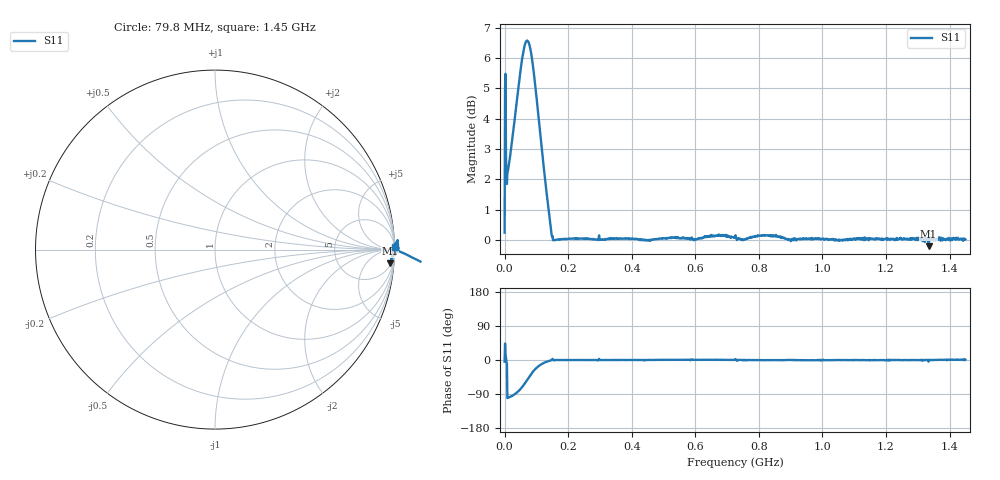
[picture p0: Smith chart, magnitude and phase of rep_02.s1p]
! Created with skrf 1.11.0 (http://scikit-rf.org).
# Hz S RI R 50.0
!freq ReS11 ImS11
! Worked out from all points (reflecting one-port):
!   1001 points, 50 kHz to 1.45 GHz, reference 50 ohm
!   lowest |S11| = -0.2 dB at 1.334 GHz (marker M1), VSWR 88.93, Z = 345 - j1.19e+03 ohm
!   phase of S11 starts at -4 deg and turns +5 deg over the sweep
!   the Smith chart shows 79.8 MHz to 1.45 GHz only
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50000  1.026 -0.0783
8749700  -0.2342 -1.268
1.019965e7  -0.2258 -1.279
1.16496e7  -0.2159 -1.294
1.599945e7  -0.1855 -1.346
2.759905e7  -0.0702 -1.515
3.77487e7  0.1022 -1.679
4.64484e7  0.3242 -1.81
5.659805e7  0.6863 -1.887
6.529775e7  1.063 -1.823
6.96476e7  1.242 -1.728
7.54474e7  1.448 -1.545
8.269715e7  1.61 -1.261
8.99469e7  1.664 -0.9656
9.86466e7  1.622 -0.6616
1.058964e8  1.541 -0.4695
1.14596e8  1.425 -0.2969
1.247457e8  1.286 -0.1602
1.493948e8  1.014 0.0324
1.812938e8  1.004 -0.00233
3.625375e8  1.007 0.000282
5.437812e8  1.011 0.00787
7.25025e8  1.01 0.00388
9.062688e8  1.006 -0.00191
1.087512e9  1.005 -0.00567
1.268756e9  1.004 -0.00211
1.334004e9  0.9748 -0.0758
1.45e9  1.003 0.0119
